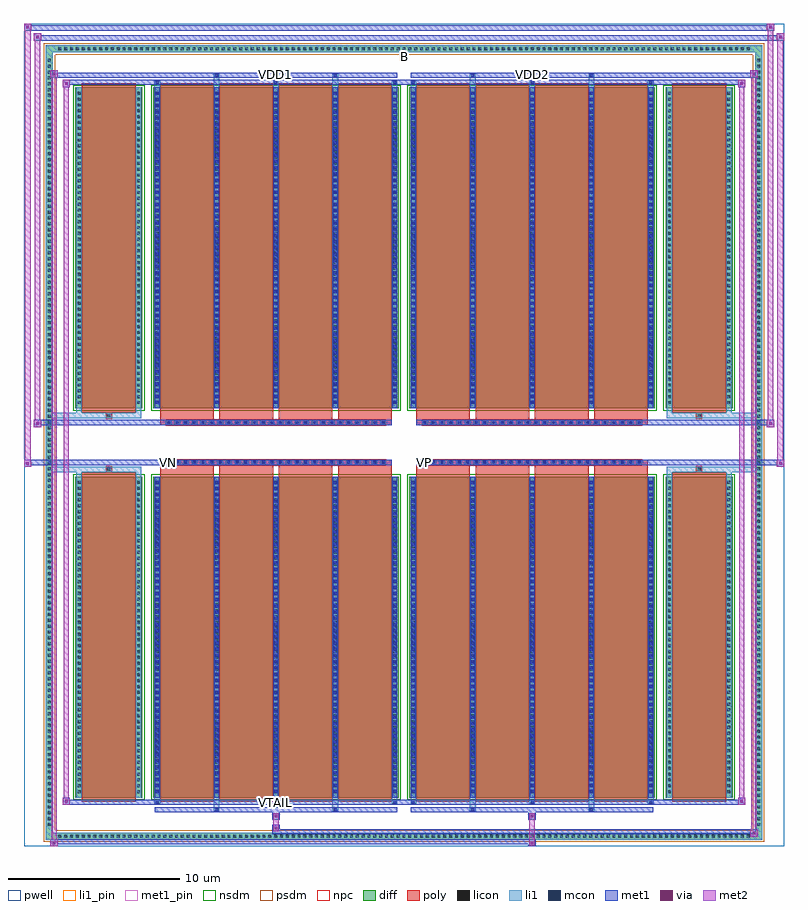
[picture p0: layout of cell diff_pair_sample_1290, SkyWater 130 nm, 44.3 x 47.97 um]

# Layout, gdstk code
import gdstk
lib = gdstk.Library(unit=1e-6, precision=5e-09)
def R(c, l, rs):  # rectangles x0, y0, x1, y1
    for r in rs: c.add(gdstk.rectangle(r[:2], r[2:], *l))
def A(c, l, x, y, w, h, nx, ny, dx, dy):  # array of equal rectangles
    R(c, l, [(x+i*dx, y+j*dy, x+i*dx+w, y+j*dy+h) for i in range(nx) for j in range(ny)])
def P(c, l, *ps):  # polygons
    for p in ps: c.add(gdstk.Polygon(p, *l))
pwell = (64, 44)
diff = (65, 20)
poly = (66, 20)
licon = (66, 44)
li1_pin = (67, 16)
li1 = (67, 20)
mcon = (67, 44)
met1_pin = (68, 16)
met1 = (68, 20)
via = (68, 44)
met2 = (69, 20)
nsdm = (93, 44)
psdm = (94, 20)
npc = (95, 20)

diff_pair_sample_1290 = lib.new_cell('diff_pair_sample_1290')
R(diff_pair_sample_1290, pwell, [(-22.15,-23.55,22.15,24.42), (-19.47,-21.74,-0.01,-0.8), (0.01,-21.74,19.47,-0.8), (-19.47,0.8,-0.01,21.74), (0.01,0.8,19.47,21.74)])
A(diff_pair_sample_1290, diff, -20.265, -23.15, 0.41, 0.41, 119, 2, 0.34, 45.89)
A(diff_pair_sample_1290, diff, -20.88, -22.475, 0.41, 0.41, 1, 132, 0, 0.34)
A(diff_pair_sample_1290, diff, 20.47, -22.475, 0.41, 0.41, 1, 132, 0, 0.34)
R(diff_pair_sample_1290, diff, [(-20.265,-23.15,20.265,-22.74), (-20.88,-22.475,-20.47,22.475), (20.47,-22.475,20.88,22.475), (-19.16,-20.695,-15.25,-1.985), (-14.61,-20.695,-0.32,-1.985), (0.32,-20.695,14.61,-1.985), (15.25,-20.695,19.16,-1.985), (-19.16,1.985,-15.25,20.695), (-14.61,1.985,-0.32,20.695), (0.32,1.985,14.61,20.695), (15.25,1.985,19.16,20.695), (-20.265,22.74,20.265,23.15)])
P(diff_pair_sample_1290, diff, [(20.88,23.15),(-20.88,23.15),(-20.88,-22.74),(-20.47,-22.74),(-20.47,22.74),(20.47,22.74),(20.47,-22.74),(-20.47,-22.74),(-20.88,-22.74),(-20.88,-23.15),(20.88,-23.15)])
A(diff_pair_sample_1290, poly, -14.22, -20.945, 3.13, 19.21, 4, 2, 3.46, 22.68)
A(diff_pair_sample_1290, poly, 0.71, -20.945, 3.13, 19.21, 4, 2, 3.46, 22.68)
A(diff_pair_sample_1290, poly, -14.22, -1.735, 3.13, 0.405, 4, 2, 3.46, 3.065)
A(diff_pair_sample_1290, poly, 0.71, -1.735, 3.13, 0.405, 4, 2, 3.46, 3.065)
A(diff_pair_sample_1290, poly, -13.88, -1.33, 0.33, 0.33, 26, 2, 0.5, 2.33)
A(diff_pair_sample_1290, poly, 1.05, -1.33, 0.33, 0.33, 26, 2, 0.5, 2.33)
R(diff_pair_sample_1290, poly, [(-18.77,-20.945,-15.64,-1.735), (15.64,-20.945,18.77,-1.735), (-17.37,-1.735,-17.04,-1.405), (-17.37,-1.735,-17.04,-1.405), (17.04,-1.735,17.37,-1.405), (17.04,-1.735,17.37,-1.405), (-14.22,-1.33,-0.71,-1), (0.71,-1.33,14.22,-1), (-14.22,1,-0.71,1.33), (0.71,1,14.22,1.33), (-17.37,1.405,-17.04,1.735), (-17.37,1.405,-17.04,1.735), (17.04,1.405,17.37,1.735), (17.04,1.405,17.37,1.735), (-18.77,1.735,-15.64,20.945), (15.64,1.735,18.77,20.945)])
A(diff_pair_sample_1290, licon, -20.145, -23.03, 0.17, 0.17, 119, 2, 0.34, 45.89)
A(diff_pair_sample_1290, licon, -20.76, -22.355, 0.17, 0.17, 1, 132, 0, 0.34)
A(diff_pair_sample_1290, licon, 20.59, -22.355, 0.17, 0.17, 1, 132, 0, 0.34)
A(diff_pair_sample_1290, licon, -19.02, -20.435, 0.17, 0.17, 1, 54, 0, 0.34)
A(diff_pair_sample_1290, licon, -15.56, -20.435, 0.17, 0.17, 1, 54, 0, 0.34)
A(diff_pair_sample_1290, licon, -14.47, -20.435, 0.17, 0.17, 5, 54, 3.46, 0.34)
A(diff_pair_sample_1290, licon, 0.46, -20.435, 0.17, 0.17, 5, 54, 3.46, 0.34)
A(diff_pair_sample_1290, licon, 15.39, -20.435, 0.17, 0.17, 1, 54, 0, 0.34)
A(diff_pair_sample_1290, licon, 18.85, -20.435, 0.17, 0.17, 1, 54, 0, 0.34)
A(diff_pair_sample_1290, licon, -13.8, -1.25, 0.17, 0.17, 26, 2, 0.5, 2.33)
A(diff_pair_sample_1290, licon, 1.13, -1.25, 0.17, 0.17, 26, 2, 0.5, 2.33)
A(diff_pair_sample_1290, licon, -19.02, 2.245, 0.17, 0.17, 1, 54, 0, 0.34)
A(diff_pair_sample_1290, licon, -15.56, 2.245, 0.17, 0.17, 1, 54, 0, 0.34)
A(diff_pair_sample_1290, licon, -14.47, 2.245, 0.17, 0.17, 5, 54, 3.46, 0.34)
A(diff_pair_sample_1290, licon, 0.46, 2.245, 0.17, 0.17, 5, 54, 3.46, 0.34)
A(diff_pair_sample_1290, licon, 15.39, 2.245, 0.17, 0.17, 1, 54, 0, 0.34)
A(diff_pair_sample_1290, licon, 18.85, 2.245, 0.17, 0.17, 1, 54, 0, 0.34)
R(diff_pair_sample_1290, licon, [(-17.29,-1.655,-17.12,-1.485), (17.12,-1.655,17.29,-1.485), (-17.29,1.485,-17.12,1.655), (17.12,1.485,17.29,1.655)])
R(diff_pair_sample_1290, li1_pin, [(-0.25,22.24,0.25,22.74)])
A(diff_pair_sample_1290, li1, -20.225, -23.11, 0.33, 0.33, 119, 2, 0.34, 45.89)
A(diff_pair_sample_1290, li1, -20.84, -22.435, 0.33, 0.33, 1, 132, 0, 0.34)
A(diff_pair_sample_1290, li1, 20.51, -22.435, 0.33, 0.33, 1, 132, 0, 0.34)
A(diff_pair_sample_1290, li1, -14.55, -21.07, 0.33, 0.375, 3, 2, 6.92, 41.765)
A(diff_pair_sample_1290, li1, -14.47, -21.07, 0.17, 0.17, 3, 2, 6.92, 41.97)
A(diff_pair_sample_1290, li1, 0.38, -21.07, 0.33, 0.375, 3, 2, 6.92, 41.765)
A(diff_pair_sample_1290, li1, 0.46, -21.07, 0.17, 0.17, 3, 2, 6.92, 41.97)
A(diff_pair_sample_1290, li1, -14.55, -20.695, 0.33, 18.71, 5, 2, 3.46, 22.68)
A(diff_pair_sample_1290, li1, 0.38, -20.695, 0.33, 18.71, 5, 2, 3.46, 22.68)
A(diff_pair_sample_1290, li1, -19.1, -20.515, 0.33, 0.33, 1, 54, 0, 0.34)
A(diff_pair_sample_1290, li1, -15.64, -20.515, 0.33, 0.33, 1, 54, 0, 0.34)
A(diff_pair_sample_1290, li1, -14.55, -20.515, 0.33, 0.33, 5, 54, 3.46, 0.34)
A(diff_pair_sample_1290, li1, 0.38, -20.515, 0.33, 0.33, 5, 54, 3.46, 0.34)
A(diff_pair_sample_1290, li1, 15.31, -20.515, 0.33, 0.33, 1, 54, 0, 0.34)
A(diff_pair_sample_1290, li1, 18.77, -20.515, 0.33, 0.33, 1, 54, 0, 0.34)
A(diff_pair_sample_1290, li1, -14.47, -20.425, 0.17, 0.17, 5, 51, 3.46, 0.36)
A(diff_pair_sample_1290, li1, -14.47, -20.425, 0.17, 18.17, 5, 2, 3.46, 22.68)
A(diff_pair_sample_1290, li1, 0.46, -20.425, 0.17, 0.17, 5, 51, 3.46, 0.36)
A(diff_pair_sample_1290, li1, 0.46, -20.425, 0.17, 18.17, 5, 2, 3.46, 22.68)
A(diff_pair_sample_1290, li1, -13.88, -1.33, 0.33, 0.33, 26, 2, 0.5, 2.33)
A(diff_pair_sample_1290, li1, 1.05, -1.33, 0.33, 0.33, 26, 2, 0.5, 2.33)
A(diff_pair_sample_1290, li1, -19.1, 2.165, 0.33, 0.33, 1, 54, 0, 0.34)
A(diff_pair_sample_1290, li1, -15.64, 2.165, 0.33, 0.33, 1, 54, 0, 0.34)
A(diff_pair_sample_1290, li1, -14.55, 2.165, 0.33, 0.33, 5, 54, 3.46, 0.34)
A(diff_pair_sample_1290, li1, 0.38, 2.165, 0.33, 0.33, 5, 54, 3.46, 0.34)
A(diff_pair_sample_1290, li1, 15.31, 2.165, 0.33, 0.33, 1, 54, 0, 0.34)
A(diff_pair_sample_1290, li1, 18.77, 2.165, 0.33, 0.33, 1, 54, 0, 0.34)
A(diff_pair_sample_1290, li1, -14.47, 2.255, 0.17, 0.17, 5, 51, 3.46, 0.36)
A(diff_pair_sample_1290, li1, 0.46, 2.255, 0.17, 0.17, 5, 51, 3.46, 0.36)
R(diff_pair_sample_1290, li1, [(-20.88,-23.15,-20.47,-22.74), (-20.88,-23.15,-20.47,-22.74), (-20.47,-23.15,20.47,-22.74), (20.47,-23.15,20.88,-22.74), (20.47,-23.15,20.88,-22.74), (-20.88,-22.74,-20.47,22.74), (20.47,-22.74,20.88,22.74), (-11.09,-21.5,-10.76,-20.695), (-11.01,-21.5,-10.84,-21.33), (-4.17,-21.5,-3.84,-20.695), (-4.09,-21.5,-3.92,-21.33), (3.84,-21.5,4.17,-20.695), (3.92,-21.5,4.09,-21.33), (10.76,-21.5,11.09,-20.695), (10.84,-21.5,11.01,-21.33), (-19.1,-20.695,-18.77,-1.985), (-15.64,-20.695,-15.31,-1.985), (15.31,-20.695,15.64,-1.985), (18.77,-20.695,19.1,-1.985), (-19.1,-1.985,-18.77,-1.405), (-15.64,-1.985,-15.31,-1.405), (15.31,-1.985,15.64,-1.405), (18.77,-1.985,19.1,-1.405), (-20.88,-1.735,-17.37,-1.405), (-19.1,-1.735,-17.37,-1.405), (-17.37,-1.735,-17.04,-1.405), (-17.04,-1.735,-15.31,-1.405), (15.31,-1.735,17.04,-1.405), (17.04,-1.735,17.37,-1.405), (17.04,-1.735,20.88,-1.405), (17.37,-1.735,19.1,-1.405), (-20.88,1.405,-17.37,1.735), (-19.1,1.405,-17.37,1.735), (-19.1,1.405,-18.77,1.985), (-17.37,1.405,-17.04,1.735), (-17.04,1.405,-15.31,1.735), (-15.64,1.405,-15.31,1.985), (15.31,1.405,17.04,1.735), (15.31,1.405,15.64,1.985), (17.04,1.405,17.37,1.735), (17.04,1.405,20.88,1.735), (17.37,1.405,19.1,1.735), (18.77,1.405,19.1,1.985), (-19.1,1.985,-18.77,20.695), (-15.64,1.985,-15.31,20.695), (15.31,1.985,15.64,20.695), (18.77,1.985,19.1,20.695), (-11.09,20.695,-10.76,21.5), (-4.17,20.695,-3.84,21.5), (3.84,20.695,4.17,21.5), (10.76,20.695,11.09,21.5), (-11.01,21.33,-10.84,21.5), (-4.09,21.33,-3.92,21.5), (3.92,21.33,4.09,21.5), (10.84,21.33,11.01,21.5), (-20.88,22.74,-20.47,23.15), (-20.88,22.74,-20.47,23.15), (-20.47,22.74,20.47,23.15), (20.47,22.74,20.88,23.15), (20.47,22.74,20.88,23.15)])
A(diff_pair_sample_1290, mcon, -14.47, -21.07, 0.17, 0.17, 3, 2, 6.92, 41.97)
A(diff_pair_sample_1290, mcon, 0.46, -21.07, 0.17, 0.17, 3, 2, 6.92, 41.97)
A(diff_pair_sample_1290, mcon, -14.47, -20.425, 0.17, 0.17, 5, 51, 3.46, 0.36)
A(diff_pair_sample_1290, mcon, 0.46, -20.425, 0.17, 0.17, 5, 51, 3.46, 0.36)
A(diff_pair_sample_1290, mcon, -13.8, -1.25, 0.17, 0.17, 26, 2, 0.5, 2.33)
A(diff_pair_sample_1290, mcon, 1.13, -1.25, 0.17, 0.17, 26, 2, 0.5, 2.33)
A(diff_pair_sample_1290, mcon, -14.47, 2.255, 0.17, 0.17, 5, 51, 3.46, 0.36)
A(diff_pair_sample_1290, mcon, 0.46, 2.255, 0.17, 0.17, 5, 51, 3.46, 0.36)
R(diff_pair_sample_1290, mcon, [(-11.01,-21.5,-10.84,-21.33), (-4.09,-21.5,-3.92,-21.33), (3.92,-21.5,4.09,-21.33), (10.84,-21.5,11.01,-21.33), (-11.01,21.33,-10.84,21.5), (-4.09,21.33,-3.92,21.5), (3.92,21.33,4.09,21.5), (10.84,21.33,11.01,21.5)])
R(diff_pair_sample_1290, met1_pin, [(-7.6,-21.11,-7.33,-20.84), (-13.85,-1.29,-13.58,-1.02), (1.08,-1.29,1.35,-1.02), (-7.6,21.29,-7.33,21.56), (7.33,21.29,7.6,21.56)])
A(diff_pair_sample_1290, met1, -14.53, -21.13, 0.29, 0.29, 3, 2, 6.92, 41.97)
A(diff_pair_sample_1290, met1, 0.4, -21.13, 0.29, 0.29, 3, 2, 6.92, 41.97)
A(diff_pair_sample_1290, met1, -14.53, -20.695, 0.29, 18.71, 5, 2, 3.46, 22.68)
A(diff_pair_sample_1290, met1, 0.4, -20.695, 0.29, 18.71, 5, 2, 3.46, 22.68)
A(diff_pair_sample_1290, met1, -14.53, -20.485, 0.29, 0.29, 5, 51, 3.46, 0.36)
A(diff_pair_sample_1290, met1, 0.4, -20.485, 0.29, 0.29, 5, 51, 3.46, 0.36)
A(diff_pair_sample_1290, met1, -13.86, -1.31, 0.29, 0.29, 26, 2, 0.5, 2.33)
A(diff_pair_sample_1290, met1, 1.07, -1.31, 0.29, 0.29, 26, 2, 0.5, 2.33)
A(diff_pair_sample_1290, met1, -14.53, 2.195, 0.29, 0.29, 5, 51, 3.46, 0.36)
A(diff_pair_sample_1290, met1, 0.4, 2.195, 0.29, 0.29, 5, 51, 3.46, 0.36)
R(diff_pair_sample_1290, met1, [(-20.61,-23.55,-20.18,-23.12), (7.25,-23.55,7.68,-23.12), (-20.61,-23.41,7.68,-23.12), (20.18,-22.98,20.61,-22.55), (-7.68,-22.84,20.61,-22.55), (-7.68,-22.7,-7.25,-22.27), (-7.68,-21.99,-7.25,-21.56), (7.25,-21.99,7.68,-21.56), (-14.53,-21.56,-0.4,-21.27), (-11.07,-21.56,-10.78,-21.27), (-4.15,-21.56,-3.86,-21.27), (0.4,-21.56,14.53,-21.27), (3.86,-21.56,4.15,-21.27), (10.78,-21.56,11.07,-21.27), (-19.9,-21.13,-19.47,-20.7), (-19.9,-21.13,-14.53,-20.84), (-14.53,-21.13,-0.4,-20.84), (-0.4,-21.13,0.4,-20.84), (0.4,-21.13,14.53,-20.84), (14.53,-21.13,19.9,-20.84), (19.47,-21.13,19.9,-20.7), (-22.15,-1.43,-21.72,-1), (21.72,-1.43,22.15,-1), (-22.15,-1.33,-0.71,-1), (-14.22,-1.33,-0.71,-1), (0.71,-1.33,14.22,-1), (0.71,-1.33,22.15,-1), (-21.58,0.9,-21.15,1.33), (21.15,0.9,21.58,1.33), (-21.58,1,-14.22,1.33), (-14.22,1,-0.71,1.33), (0.71,1,14.22,1.33), (14.22,1,21.58,1.33), (-19.9,20.7,-19.47,21.13), (19.47,20.7,19.9,21.13), (-19.9,20.84,-14.53,21.13), (-14.53,20.84,-0.4,21.13), (-0.4,20.84,0.4,21.13), (0.4,20.84,14.53,21.13), (14.53,20.84,19.9,21.13), (-20.61,21.27,-20.18,21.7), (-20.61,21.27,-14.53,21.56), (-14.53,21.27,-0.4,21.56), (-11.07,21.27,-10.78,21.56), (-4.15,21.27,-3.86,21.56), (0.4,21.27,14.53,21.56), (3.86,21.27,4.15,21.56), (10.78,21.27,11.07,21.56), (14.53,21.27,20.61,21.56), (20.18,21.27,20.61,21.7), (-21.58,23.42,-21.15,23.85), (-21.58,23.42,-19.47,23.75), (-19.47,23.42,19.47,23.75), (19.47,23.42,22.15,23.75), (21.72,23.42,22.15,23.85), (-22.15,23.99,-21.72,24.42), (-22.15,23.99,-19.47,24.32), (-19.47,23.99,19.47,24.32), (19.47,23.99,21.58,24.32), (21.15,23.99,21.58,24.42)])
R(diff_pair_sample_1290, via, [(-20.47,-23.41,-20.32,-23.26), (7.39,-23.41,7.54,-23.26), (20.32,-22.84,20.47,-22.69), (-7.54,-22.56,-7.39,-22.41), (-7.54,-21.85,-7.39,-21.7), (7.39,-21.85,7.54,-21.7), (-19.76,-20.99,-19.61,-20.84), (19.61,-20.99,19.76,-20.84), (-22.01,-1.29,-21.86,-1.14), (21.86,-1.29,22.01,-1.14), (-21.44,1.04,-21.29,1.19), (21.29,1.04,21.44,1.19), (-19.76,20.84,-19.61,20.99), (19.61,20.84,19.76,20.99), (-20.47,21.41,-20.32,21.56), (20.32,21.41,20.47,21.56), (-21.44,23.56,-21.29,23.71), (21.86,23.56,22.01,23.71), (-22.01,24.13,-21.86,24.28), (21.29,24.13,21.44,24.28)])
R(diff_pair_sample_1290, met2, [(-20.61,-23.55,-20.18,-23.12), (-20.54,-23.55,-20.25,21.7), (-20.25,-23.55,-20.18,-23.12), (-20.56,-23.5,-20.23,-23.17), (7.3,-23.5,7.63,-23.17), (7.3,-23.17,7.63,-21.94), (20.18,-22.98,20.61,-22.55), (20.25,-22.98,20.54,21.7), (20.54,-22.98,20.61,-22.55), (20.23,-22.93,20.56,-22.6), (-7.63,-22.65,-7.3,-22.32), (-7.63,-22.32,-7.3,-21.94), (-7.63,-21.94,-7.3,-21.61), (7.3,-21.94,7.63,-21.61), (-19.9,-21.13,-19.47,-20.7), (-19.83,-21.13,-19.54,21.13), (-19.54,-21.13,-19.47,-20.7), (19.47,-21.13,19.9,-20.7), (19.54,-21.13,19.83,21.13), (19.83,-21.13,19.9,-20.7), (-19.85,-21.08,-19.52,-20.75), (19.52,-21.08,19.85,-20.75), (-22.15,-1.43,-21.72,-1), (-22.1,-1.43,-21.77,24.42), (-21.77,-1.43,-21.72,-1), (21.72,-1.43,22.15,-1), (21.77,-1.43,22.1,23.85), (22.1,-1.43,22.15,-1), (-22.1,-1.38,-21.77,-1.05), (21.77,-1.38,22.1,-1.05), (-21.58,0.9,-21.15,1.33), (-21.53,0.9,-21.2,23.85), (-21.2,0.9,-21.15,1.33), (21.15,0.9,21.58,1.33), (21.2,0.9,21.53,24.42), (21.53,0.9,21.58,1.33), (-21.53,0.95,-21.2,1.28), (21.2,0.95,21.53,1.28), (-19.9,20.7,-19.47,21.13), (-19.54,20.7,-19.47,21.13), (19.47,20.7,19.9,21.13), (19.83,20.7,19.9,21.13), (-19.85,20.75,-19.52,21.08), (19.52,20.75,19.85,21.08), (-20.61,21.27,-20.18,21.7), (-20.25,21.27,-20.18,21.7), (20.18,21.27,20.61,21.7), (20.54,21.27,20.61,21.7), (-20.56,21.32,-20.23,21.65), (20.23,21.32,20.56,21.65), (-21.58,23.42,-21.15,23.85), (-21.2,23.42,-21.15,23.85), (21.72,23.42,22.15,23.85), (22.1,23.42,22.15,23.85), (-21.53,23.47,-21.2,23.8), (21.77,23.47,22.1,23.8), (-22.15,23.99,-21.72,24.42), (-21.77,23.99,-21.72,24.42), (21.15,23.99,21.58,24.42), (21.53,23.99,21.58,24.42), (-22.1,24.04,-21.77,24.37), (21.2,24.04,21.53,24.37)])
R(diff_pair_sample_1290, nsdm, [(-19.29,-20.825,-15.12,-1.855), (-14.74,-20.825,-0.19,-1.855), (0.19,-20.825,14.74,-1.855), (15.12,-20.825,19.29,-1.855), (-19.29,1.855,-15.12,20.825), (-14.74,1.855,-0.19,20.825), (0.19,1.855,14.74,20.825), (15.12,1.855,19.29,20.825)])
P(diff_pair_sample_1290, psdm, [(21.01,23.28),(-21.01,23.28),(-21.01,-22.61),(-20.34,-22.61),(-20.34,22.61),(20.34,22.61),(20.34,-22.61),(-20.34,-22.61),(-21.01,-22.61),(-21.01,-23.28),(21.01,-23.28)])
A(diff_pair_sample_1290, npc, -13.9, -1.35, 0.37, 0.37, 26, 2, 0.5, 2.33)
A(diff_pair_sample_1290, npc, 1.03, -1.35, 0.37, 0.37, 26, 2, 0.5, 2.33)
R(diff_pair_sample_1290, npc, [(-17.39,-1.755,-17.02,-1.385), (17.02,-1.755,17.39,-1.385), (-13.9,-1.35,-13.03,-0.98), (-13.9,-1.35,-13.03,-0.98), (-13.4,-1.35,-12.53,-0.98), (-13.4,-1.35,-12.53,-0.98), (-12.9,-1.35,-12.03,-0.98), (-12.9,-1.35,-12.03,-0.98), (-12.4,-1.35,-11.53,-0.98), (-12.4,-1.35,-11.53,-0.98), (-11.9,-1.35,-11.03,-0.98), (-11.9,-1.35,-11.03,-0.98), (-11.4,-1.35,-10.53,-0.98), (-11.4,-1.35,-10.53,-0.98), (-10.9,-1.35,-10.03,-0.98), (-10.9,-1.35,-10.03,-0.98), (-10.4,-1.35,-9.53,-0.98), (-10.4,-1.35,-9.53,-0.98), (-9.9,-1.35,-9.03,-0.98), (-9.9,-1.35,-9.03,-0.98), (-9.4,-1.35,-8.53,-0.98), (-9.4,-1.35,-8.53,-0.98), (-8.9,-1.35,-8.03,-0.98), (-8.9,-1.35,-8.03,-0.98), (-8.4,-1.35,-7.53,-0.98), (-8.4,-1.35,-7.53,-0.98), (-7.9,-1.35,-7.03,-0.98), (-7.9,-1.35,-7.03,-0.98), (-7.4,-1.35,-6.53,-0.98), (-7.4,-1.35,-6.53,-0.98), (-6.9,-1.35,-6.03,-0.98), (-6.9,-1.35,-6.03,-0.98), (-6.4,-1.35,-5.53,-0.98), (-6.4,-1.35,-5.53,-0.98), (-5.9,-1.35,-5.03,-0.98), (-5.9,-1.35,-5.03,-0.98), (-5.4,-1.35,-4.53,-0.98), (-5.4,-1.35,-4.53,-0.98), (-4.9,-1.35,-4.03,-0.98), (-4.9,-1.35,-4.03,-0.98), (-4.4,-1.35,-3.53,-0.98), (-4.4,-1.35,-3.53,-0.98), (-3.9,-1.35,-3.03,-0.98), (-3.9,-1.35,-3.03,-0.98), (-3.4,-1.35,-2.53,-0.98), (-3.4,-1.35,-2.53,-0.98), (-2.9,-1.35,-2.03,-0.98), (-2.9,-1.35,-2.03,-0.98), (-2.4,-1.35,-1.53,-0.98), (-2.4,-1.35,-1.53,-0.98), (-1.9,-1.35,-1.03,-0.98), (-1.9,-1.35,-1.03,-0.98), (1.03,-1.35,1.9,-0.98), (1.03,-1.35,1.9,-0.98), (1.53,-1.35,2.4,-0.98), (1.53,-1.35,2.4,-0.98), (2.03,-1.35,2.9,-0.98), (2.03,-1.35,2.9,-0.98), (2.53,-1.35,3.4,-0.98), (2.53,-1.35,3.4,-0.98), (3.03,-1.35,3.9,-0.98), (3.03,-1.35,3.9,-0.98), (3.53,-1.35,4.4,-0.98), (3.53,-1.35,4.4,-0.98), (4.03,-1.35,4.9,-0.98), (4.03,-1.35,4.9,-0.98), (4.53,-1.35,5.4,-0.98), (4.53,-1.35,5.4,-0.98), (5.03,-1.35,5.9,-0.98), (5.03,-1.35,5.9,-0.98), (5.53,-1.35,6.4,-0.98), (5.53,-1.35,6.4,-0.98), (6.03,-1.35,6.9,-0.98), (6.03,-1.35,6.9,-0.98), (6.53,-1.35,7.4,-0.98), (6.53,-1.35,7.4,-0.98), (7.03,-1.35,7.9,-0.98), (7.03,-1.35,7.9,-0.98), (7.53,-1.35,8.4,-0.98), (7.53,-1.35,8.4,-0.98), (8.03,-1.35,8.9,-0.98), (8.03,-1.35,8.9,-0.98), (8.53,-1.35,9.4,-0.98), (8.53,-1.35,9.4,-0.98), (9.03,-1.35,9.9,-0.98), (9.03,-1.35,9.9,-0.98), (9.53,-1.35,10.4,-0.98), (9.53,-1.35,10.4,-0.98), (10.03,-1.35,10.9,-0.98), (10.03,-1.35,10.9,-0.98), (10.53,-1.35,11.4,-0.98), (10.53,-1.35,11.4,-0.98), (11.03,-1.35,11.9,-0.98), (11.03,-1.35,11.9,-0.98), (11.53,-1.35,12.4,-0.98), (11.53,-1.35,12.4,-0.98), (12.03,-1.35,12.9,-0.98), (12.03,-1.35,12.9,-0.98), (12.53,-1.35,13.4,-0.98), (12.53,-1.35,13.4,-0.98), (13.03,-1.35,13.9,-0.98), (13.03,-1.35,13.9,-0.98), (-13.9,0.98,-13.03,1.35), (-13.9,0.98,-13.03,1.35), (-13.4,0.98,-12.53,1.35), (-13.4,0.98,-12.53,1.35), (-12.9,0.98,-12.03,1.35), (-12.9,0.98,-12.03,1.35), (-12.4,0.98,-11.53,1.35), (-12.4,0.98,-11.53,1.35), (-11.9,0.98,-11.03,1.35), (-11.9,0.98,-11.03,1.35), (-11.4,0.98,-10.53,1.35), (-11.4,0.98,-10.53,1.35), (-10.9,0.98,-10.03,1.35), (-10.9,0.98,-10.03,1.35), (-10.4,0.98,-9.53,1.35), (-10.4,0.98,-9.53,1.35), (-9.9,0.98,-9.03,1.35), (-9.9,0.98,-9.03,1.35), (-9.4,0.98,-8.53,1.35), (-9.4,0.98,-8.53,1.35), (-8.9,0.98,-8.03,1.35), (-8.9,0.98,-8.03,1.35), (-8.4,0.98,-7.53,1.35), (-8.4,0.98,-7.53,1.35), (-7.9,0.98,-7.03,1.35), (-7.9,0.98,-7.03,1.35), (-7.4,0.98,-6.53,1.35), (-7.4,0.98,-6.53,1.35), (-6.9,0.98,-6.03,1.35), (-6.9,0.98,-6.03,1.35), (-6.4,0.98,-5.53,1.35), (-6.4,0.98,-5.53,1.35), (-5.9,0.98,-5.03,1.35), (-5.9,0.98,-5.03,1.35), (-5.4,0.98,-4.53,1.35), (-5.4,0.98,-4.53,1.35), (-4.9,0.98,-4.03,1.35), (-4.9,0.98,-4.03,1.35), (-4.4,0.98,-3.53,1.35), (-4.4,0.98,-3.53,1.35), (-3.9,0.98,-3.03,1.35), (-3.9,0.98,-3.03,1.35), (-3.4,0.98,-2.53,1.35), (-3.4,0.98,-2.53,1.35), (-2.9,0.98,-2.03,1.35), (-2.9,0.98,-2.03,1.35), (-2.4,0.98,-1.53,1.35), (-2.4,0.98,-1.53,1.35), (-1.9,0.98,-1.03,1.35), (-1.9,0.98,-1.03,1.35), (1.03,0.98,1.9,1.35), (1.03,0.98,1.9,1.35), (1.53,0.98,2.4,1.35), (1.53,0.98,2.4,1.35), (2.03,0.98,2.9,1.35), (2.03,0.98,2.9,1.35), (2.53,0.98,3.4,1.35), (2.53,0.98,3.4,1.35), (3.03,0.98,3.9,1.35), (3.03,0.98,3.9,1.35), (3.53,0.98,4.4,1.35), (3.53,0.98,4.4,1.35), (4.03,0.98,4.9,1.35), (4.03,0.98,4.9,1.35), (4.53,0.98,5.4,1.35), (4.53,0.98,5.4,1.35), (5.03,0.98,5.9,1.35), (5.03,0.98,5.9,1.35), (5.53,0.98,6.4,1.35), (5.53,0.98,6.4,1.35), (6.03,0.98,6.9,1.35), (6.03,0.98,6.9,1.35), (6.53,0.98,7.4,1.35), (6.53,0.98,7.4,1.35), (7.03,0.98,7.9,1.35), (7.03,0.98,7.9,1.35), (7.53,0.98,8.4,1.35), (7.53,0.98,8.4,1.35), (8.03,0.98,8.9,1.35), (8.03,0.98,8.9,1.35), (8.53,0.98,9.4,1.35), (8.53,0.98,9.4,1.35), (9.03,0.98,9.9,1.35), (9.03,0.98,9.9,1.35), (9.53,0.98,10.4,1.35), (9.53,0.98,10.4,1.35), (10.03,0.98,10.9,1.35), (10.03,0.98,10.9,1.35), (10.53,0.98,11.4,1.35), (10.53,0.98,11.4,1.35), (11.03,0.98,11.9,1.35), (11.03,0.98,11.9,1.35), (11.53,0.98,12.4,1.35), (11.53,0.98,12.4,1.35), (12.03,0.98,12.9,1.35), (12.03,0.98,12.9,1.35), (12.53,0.98,13.4,1.35), (12.53,0.98,13.4,1.35), (13.03,0.98,13.9,1.35), (13.03,0.98,13.9,1.35), (-17.39,1.385,-17.02,1.755), (17.02,1.385,17.39,1.755)])
diff_pair_sample_1290.add(gdstk.Label('VTAIL', (-7.465,-20.975), layer=68, texttype=5))
diff_pair_sample_1290.add(gdstk.Label('VN', (-13.715,-1.155), layer=68, texttype=5))
diff_pair_sample_1290.add(gdstk.Label('VP', (1.215,-1.155), layer=68, texttype=5))
diff_pair_sample_1290.add(gdstk.Label('B', (0,22.49), layer=67, texttype=5))
diff_pair_sample_1290.add(gdstk.Label('VDD2', (7.465,21.425), layer=68, texttype=5))
diff_pair_sample_1290.add(gdstk.Label('VDD1', (-7.465,21.425), layer=68, texttype=5))

lib.write_gds('diff_pair_sample_1290.gds')
